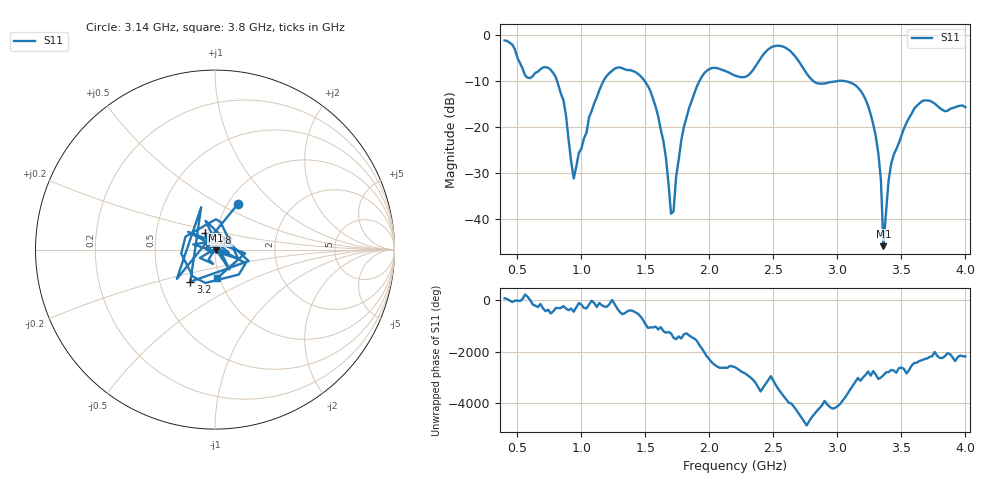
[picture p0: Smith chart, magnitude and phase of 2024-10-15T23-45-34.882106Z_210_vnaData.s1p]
! Created with skrf (http://scikit-rf.org).
# Hz S RI R 50.0
!freq ReS11 ImS11
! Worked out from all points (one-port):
!   181 points, 400 MHz to 4 GHz, reference 50 ohm
!   lowest |S11| = -46.0 dB at 3.36 GHz (marker M1), VSWR 1.01, Z = 50.4 - j0.302 ohm
!   |S11| at or under -10 dB: 809.5 MHz to 1.173 GHz (363.8 MHz wide, 36.7 % of centre); 1.493 GHz to 1.923 GHz (429.8 MHz wide, 25.2 % of centre); 3.046 GHz to end of sweep (the widest 3 of 4)
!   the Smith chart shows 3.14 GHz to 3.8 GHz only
!   S11 on the Smith chart (normalised r, x): 3.14 GHz: 1.11, +0.61; 3.2 GHz: 0.72, -0.27; 3.28 GHz: 0.88, +0.16; 3.8 GHz: 0.97, -0.32
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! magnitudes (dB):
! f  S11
! 400 MHz  -1.2
! 580 MHz  -9.3
! 760 MHz  -7.6
! 860 MHz  -14.2
! 940 MHz  -31.2
! 1.14 GHz  -12.0
! 1.3 GHz  -7.1
! 1.54 GHz  -12.3
! 1.64 GHz  -23.0
! 1.7 GHz  -38.9
! 1.72 GHz  -38.4
! 1.76 GHz  -27.2
! 1.84 GHz  -16.0
! 1.94 GHz  -9.1
! 2.2 GHz  -8.8
! 2.5 GHz  -2.5
! 2.66 GHz  -4.3
! 2.84 GHz  -10.5
! 3.1 GHz  -10.3
! 3.14 GHz  -10.9
! 3.2 GHz  -12.9
! 3.28 GHz  -19.5
! 3.34 GHz  -31.6
! 3.36 GHz  -46.0
! 3.42 GHz  -28.1
! 3.56 GHz  -18.1
! 3.8 GHz  -15.9
! 4 GHz  -15.7
